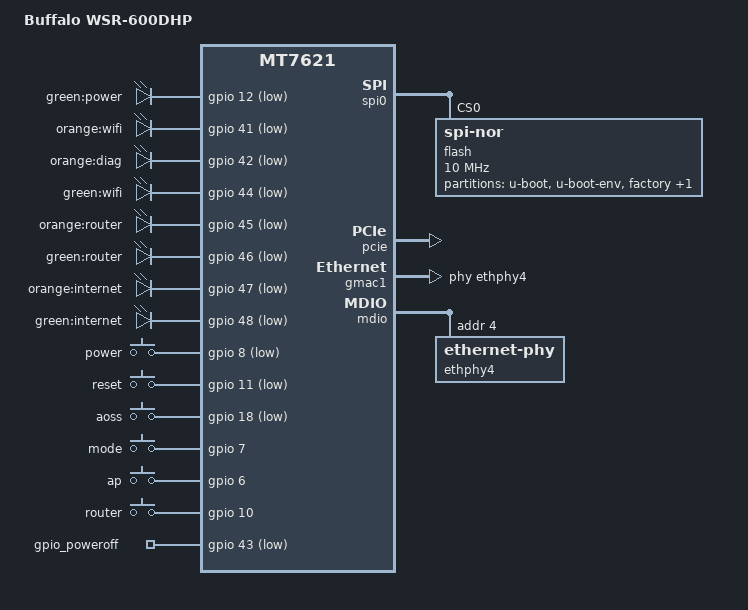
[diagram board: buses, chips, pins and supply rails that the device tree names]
#include "mt7621.dtsi"

#include <dt-bindings/gpio/gpio.h>
#include <dt-bindings/input/input.h>

/ {
	compatible = "buffalo,wsr-600dhp", "mediatek,mt7621-soc";
	model = "Buffalo WSR-600DHP";

	aliases {
		led-boot = &led_power;
		led-failsafe = &led_power;
		led-running = &led_power;
		led-upgrade = &led_power;
	};

	leds {
		compatible = "gpio-leds";

		led_power: power {
			label = "green:power";
			gpios = <&gpio 12 GPIO_ACTIVE_LOW>;
		};

		wifi_o {
			label = "orange:wifi";
			gpios = <&gpio 41 GPIO_ACTIVE_LOW>;
		};

		diag {
			label = "orange:diag";
			gpios = <&gpio 42 GPIO_ACTIVE_LOW>;
		};

		wifi_g {
			label = "green:wifi";
			gpios = <&gpio 44 GPIO_ACTIVE_LOW>;
		};

		router_o {
			label = "orange:router";
			gpios = <&gpio 45 GPIO_ACTIVE_LOW>;
		};

		router_g {
			label = "green:router";
			gpios = <&gpio 46 GPIO_ACTIVE_LOW>;
		};

		internet_o {
			label = "orange:internet";
			gpios = <&gpio 47 GPIO_ACTIVE_LOW>;
		};

		internet_g {
			label = "green:internet";
			gpios = <&gpio 48 GPIO_ACTIVE_LOW>;
		};
	};

	keys {
		compatible = "gpio-keys";

		power {
			label = "power";
			gpios = <&gpio 8 GPIO_ACTIVE_LOW>;
			linux,code = <KEY_POWER>;
		};

		reset {
			label = "reset";
			gpios = <&gpio 11 GPIO_ACTIVE_LOW>;
			linux,code = <KEY_RESTART>;
		};

		aoss {
			label = "aoss";
			gpios = <&gpio 18 GPIO_ACTIVE_LOW>;
			linux,code = <KEY_WPS_BUTTON>;
		};

		auto {
			label = "mode";
			gpios = <&gpio 7 GPIO_ACTIVE_HIGH>;
			linux,code = <BTN_0>;
			linux,input-type = <EV_SW>;
		};

		ap {
			label = "ap";
			gpios = <&gpio 6 GPIO_ACTIVE_HIGH>;
			linux,code = <BTN_0>;
			linux,input-type = <EV_SW>;
		};

		router {
			label = "router";
			gpios = <&gpio 10 GPIO_ACTIVE_HIGH>;
			linux,code = <BTN_0>;
			linux,input-type = <EV_SW>;
		};
	};

	gpio_poweroff {
		compatible = "gpio-poweroff";
		gpios = <&gpio 43 GPIO_ACTIVE_LOW>;
	};
};

&spi0 {
	status = "okay";

	flash@0 {
		compatible = "jedec,spi-nor";
		reg = <0>;
		spi-max-frequency = <10000000>;

		partitions {
			compatible = "fixed-partitions";
			#address-cells = <1>;
			#size-cells = <1>;

			partition@0 {
				label = "u-boot";
				reg = <0x0 0x30000>;
				read-only;
			};

			partition@30000 {
				label = "u-boot-env";
				reg = <0x30000 0x10000>;
				read-only;
			};

			factory: partition@40000 {
				label = "factory";
				reg = <0x40000 0x10000>;
				read-only;
			};

			partition@50000 {
				compatible = "denx,uimage";
				label = "firmware";
				reg = <0x50000 0xfb0000>;
			};
		};
	};
};

&state_default {
	gpio {
		groups = "i2c", "uart2", "uart3", "sdhci";
		function = "gpio";
	};
};

&pcie {
	status = "okay";
};

&pcie0 {
	rt5592@0,0 {
		reg = <0x0000 0 0 0 0>;
		ralink,mtd-eeprom = <&factory 0x8000>;
	};
};

&pcie1 {
	mt76@0,0 {
		reg = <0x0000 0 0 0 0>;
		mediatek,mtd-eeprom = <&factory 0x0000>;
	};
};

&gmac0 {
	mtd-mac-address = <&factory 0x4>;
};

&gmac1 {
	status = "okay";
	label = "wan";
	phy-handle = <&ethphy4>;
	mtd-mac-address = <&factory 0x4>;
};

&mdio {
	ethphy4: ethernet-phy@4 {
		reg = <4>;
	};
};

&switch0 {
	ports {
		port@0 {
			status = "okay";
			label = "lan1";
		};

		port@1 {
			status = "okay";
			label = "lan2";
		};

		port@2 {
			status = "okay";
			label = "lan3";
		};

		port@3 {
			status = "okay";
			label = "lan4";
		};
	};
};

&xhci {
	status = "disabled";
};
